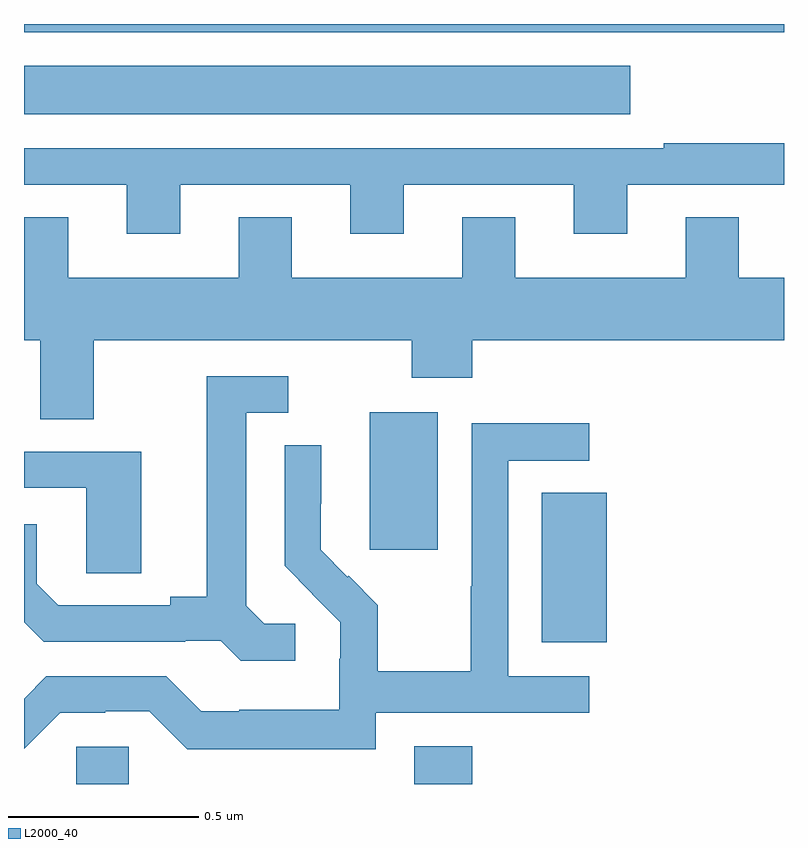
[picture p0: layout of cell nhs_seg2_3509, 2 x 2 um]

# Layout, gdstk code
import gdstk
lib = gdstk.Library(unit=1e-6, precision=1e-09)
def R(c, l, rs):  # rectangles x0, y0, x1, y1
    for r in rs: c.add(gdstk.rectangle(r[:2], r[2:], *l))
def P(c, l, *ps):  # polygons
    for p in ps: c.add(gdstk.Polygon(p, *l))
L2000_40 = (2000, 40)

nhs_seg2_3509 = lib.new_cell('nhs_seg2_3509')
R(nhs_seg2_3509, L2000_40, [(154.137,647.8,154.275,647.898), (155.027,647.8,155.18,647.899), (155.363,648.173,155.534,648.566), (154.91,648.417,155.089,648.778), (154,649.562,155.596,649.69), (154,649.778,156,649.8)])
P(nhs_seg2_3509, L2000_40, [(154.411,649.377),(154.859,649.377),(154.859,649.248),(154.999,649.248),(154.999,649.377),(155.447,649.377),(155.447,649.248),(155.587,649.248),(155.587,649.377),(156,649.377),(156,649.486),(155.683,649.486),(155.683,649.473),(154,649.473),(154,649.377),(154.271,649.377),(154.271,649.248),(154.411,649.248)],
  [(154.183,648.968),(155.02,648.968),(155.02,648.869),(155.18,648.869),(155.18,648.968),(156,648.968),(156,649.132),(155.881,649.132),(155.881,649.292),(155.741,649.292),(155.741,649.132),(155.293,649.132),(155.293,649.292),(155.153,649.292),(155.153,649.132),(154.705,649.132),(154.705,649.292),(154.565,649.292),(154.565,649.132),(154.117,649.132),(154.117,649.292),(154,649.292),(154,648.968),(154.043,648.968),(154.043,648.76),(154.183,648.76)],
  [(154.714,648.222),(154.632,648.222),(154.585,648.269),(154.585,648.777),(154.696,648.777),(154.696,648.873),(154.481,648.873),(154.481,648.293),(154.385,648.293),(154.385,648.27),(154.09,648.27),(154.033,648.327),(154.033,648.484),(154,648.484),(154,648.226),(154.052,648.174),(154.424,648.174),(154.424,648.177),(154.518,648.177),(154.57,648.125),(154.714,648.125)],
  [(154.926,647.988),(155.488,647.988),(155.488,648.084),(155.274,648.084),(155.274,648.651),(155.488,648.651),(155.488,648.75),(155.178,648.75),(155.178,648.32),(155.176,648.32),(155.176,648.097),(154.931,648.097),(154.931,648.271),(154.854,648.348),(154.851,648.345),(154.781,648.416),(154.781,648.538),(154.782,648.538),(154.782,648.692),(154.686,648.692),(154.686,648.374),(154.759,648.301),(154.758,648.3),(154.832,648.226),(154.832,648.129),(154.83,648.129),(154.83,647.995),(154.567,647.995),(154.567,647.991),(154.467,647.991),(154.374,648.084),(154.059,648.084),(154,648.025),(154,647.893),(154.095,647.988),(154.214,647.988),(154.214,647.991),(154.329,647.991),(154.429,647.891),(154.926,647.891)],
  [(154.309,648.675),(154,648.675),(154,648.579),(154.164,648.579),(154.164,648.355),(154.309,648.355)])

lib.write_gds('nhs_seg2_3509.gds')
